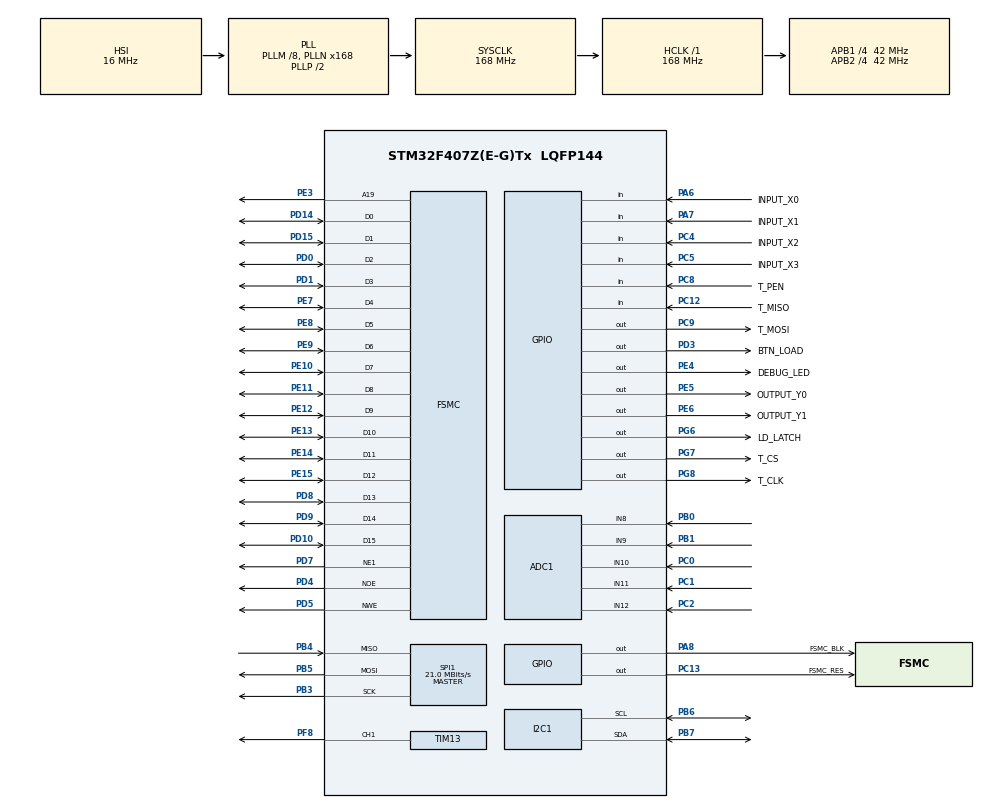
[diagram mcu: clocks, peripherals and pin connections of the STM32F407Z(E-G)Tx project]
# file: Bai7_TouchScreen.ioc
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ADC1.Channel-0\#ChannelRegularConversion=ADC_CHANNEL_8
ADC1.Channel-1\#ChannelRegularConversion=ADC_CHANNEL_9
ADC1.Channel-2\#ChannelRegularConversion=ADC_CHANNEL_10
ADC1.Channel-3\#ChannelRegularConversion=ADC_CHANNEL_11
ADC1.Channel-4\#ChannelRegularConversion=ADC_CHANNEL_12
ADC1.NbrOfConversion=5
ADC1.NbrOfConversionFlag=1
ADC1.Rank-0\#ChannelRegularConversion=1
ADC1.Rank-1\#ChannelRegularConversion=2
ADC1.Rank-2\#ChannelRegularConversion=3
ADC1.Rank-3\#ChannelRegularConversion=4
ADC1.Rank-4\#ChannelRegularConversion=5
ADC1.SamplingTime-0\#ChannelRegularConversion=ADC_SAMPLETIME_3CYCLES
ADC1.SamplingTime-1\#ChannelRegularConversion=ADC_SAMPLETIME_3CYCLES
ADC1.SamplingTime-2\#ChannelRegularConversion=ADC_SAMPLETIME_3CYCLES
ADC1.SamplingTime-3\#ChannelRegularConversion=ADC_SAMPLETIME_3CYCLES
ADC1.SamplingTime-4\#ChannelRegularConversion=ADC_SAMPLETIME_3CYCLES
ADC1.ScanConvMode=ENABLE
ADC1.master=1
Dma.ADC1.0.Direction=DMA_PERIPH_TO_MEMORY
Dma.ADC1.0.FIFOMode=DMA_FIFOMODE_DISABLE
Dma.ADC1.0.Instance=DMA2_Stream0
Dma.ADC1.0.MemDataAlignment=DMA_MDATAALIGN_HALFWORD
Dma.ADC1.0.MemInc=DMA_MINC_ENABLE
Dma.ADC1.0.Mode=DMA_CIRCULAR
Dma.ADC1.0.PeriphDataAlignment=DMA_PDATAALIGN_HALFWORD
Dma.ADC1.0.PeriphInc=DMA_PINC_DISABLE
Dma.ADC1.0.Priority=DMA_PRIORITY_LOW
Dma.Request0=ADC1
FSMC.AddressSetupTime1=0xf
FSMC.BusTurnAroundDuration1=0
FSMC.DataSetupTime1=60
FSMC.ExtendedAddressSetupTime1=8
FSMC.ExtendedBusTurnAroundDuration1=0
FSMC.ExtendedDataSetupTime1=9
FSMC.ExtendedMode1=FSMC_EXTENDED_MODE_ENABLE
I2C1.I2C_Mode=I2C_Standard
Mcu.Family=STM32F4
Mcu.Name=STM32F407Z(E-G)Tx
Mcu.Package=LQFP144
NVIC.DMA2_Stream0_IRQn=true\:0\:0\:false\:false\:true\:false\:true\:true
NVIC.PriorityGroup=NVIC_PRIORITYGROUP_4
NVIC.TIM2_IRQn=true\:0\:0\:false\:false\:true\:true\:true\:true
PA13.Mode=Serial_Wire
PA13.Signal=SYS_JTMS-SWDIO
PA14.Mode=Serial_Wire
PA14.Signal=SYS_JTCK-SWCLK
PA6.GPIO_Label=INPUT_X0
PA6.Signal=GPIO_Input
PA7.GPIO_Label=INPUT_X1
PA7.Signal=GPIO_Input
PA8.GPIO_Label=FSMC_BLK
PA8.Signal=GPIO_Output
PB0.Signal=ADCx_IN8
PB1.Signal=ADCx_IN9
PB3.Mode=Full_Duplex_Master
PB3.Signal=SPI1_SCK
PB4.Mode=Full_Duplex_Master
PB4.Signal=SPI1_MISO
PB5.Mode=Full_Duplex_Master
PB5.Signal=SPI1_MOSI
PB6.Mode=I2C
PB6.Signal=I2C1_SCL
PB7.Mode=I2C
PB7.Signal=I2C1_SDA
PC0.Signal=ADCx_IN10
PC1.Signal=ADCx_IN11
PC12.GPIO_Label=T_MISO
PC12.GPIO_PuPd=GPIO_PULLUP
PC12.Signal=GPIO_Input
PC13-ANTI_TAMP.GPIO_Label=FSMC_RES
PC13-ANTI_TAMP.Signal=GPIO_Output
PC2.Signal=ADCx_IN12
PC4.GPIO_Label=INPUT_X2
PC4.Signal=GPIO_Input
PC5.GPIO_Label=INPUT_X3
PC5.Signal=GPIO_Input
PC8.GPIO_Label=T_PEN
PC8.GPIO_PuPd=GPIO_PULLUP
PC8.Signal=GPIO_Input
PC9.GPIO_Label=T_MOSI
PC9.Signal=GPIO_Output
PD0.Signal=FSMC_D2_DA2
PD1.Signal=FSMC_D3_DA3
PD10.Signal=FSMC_D15_DA15
PD14.Signal=FSMC_D0_DA0
PD15.Signal=FSMC_D1_DA1
PD3.GPIO_Label=BTN_LOAD
PD3.Signal=GPIO_Output
PD4.Signal=FSMC_NOE
PD5.Signal=FSMC_NWE
PD7.Mode=NorPsramChipSelect1_1
PD7.Signal=FSMC_NE1
PD8.Signal=FSMC_D13_DA13
PD9.Signal=FSMC_D14_DA14
PE10.Signal=FSMC_D7_DA7
PE11.Signal=FSMC_D8_DA8
PE12.Signal=FSMC_D9_DA9
PE13.Signal=FSMC_D10_DA10
PE14.Signal=FSMC_D11_DA11
PE15.Signal=FSMC_D12_DA12
PE3.Signal=FSMC_A19
PE4.GPIO_Label=DEBUG_LED
PE4.Signal=GPIO_Output
PE5.GPIO_Label=OUTPUT_Y0
PE5.Signal=GPIO_Output
PE6.GPIO_Label=OUTPUT_Y1
PE6.Signal=GPIO_Output
PE7.Signal=FSMC_D4_DA4
PE8.Signal=FSMC_D5_DA5
PE9.Signal=FSMC_D6_DA6
PF8.Signal=S_TIM13_CH1
PG6.GPIO_Label=LD_LATCH
PG6.Signal=GPIO_Output
PG7.GPIO_Label=T_CS
PG7.Signal=GPIO_Output
PG8.GPIO_Label=T_CLK
PG8.Signal=GPIO_Output
PH0-OSC_IN.Mode=HSE-External-Oscillator
PH0-OSC_IN.Signal=RCC_OSC_IN
PH1-OSC_OUT.Mode=HSE-External-Oscillator
PH1-OSC_OUT.Signal=RCC_OSC_OUT
ProjectManager.HeapSize=0x200
ProjectManager.StackSize=0x400
ProjectManager.TargetToolchain=STM32CubeIDE
RCC.48MHZClocksFreq_Value=84000000
RCC.AHBFreq_Value=168000000
RCC.APB1CLKDivider=RCC_HCLK_DIV4
RCC.APB1Freq_Value=42000000
RCC.APB1TimFreq_Value=84000000
RCC.APB2CLKDivider=RCC_HCLK_DIV4
RCC.APB2Freq_Value=42000000
RCC.APB2TimFreq_Value=84000000
RCC.CortexFreq_Value=168000000
RCC.HCLKFreq_Value=168000000
RCC.HSE_VALUE=8000000
RCC.HSI_VALUE=16000000
RCC.LSE_VALUE=32768
RCC.PLLM=8
RCC.PLLN=168
RCC.SYSCLKFreq_VALUE=168000000
RCC.SYSCLKSource=RCC_SYSCLKSOURCE_PLLCLK
RCC.VCOOutputFreq_Value=336000000
SH.ADCx_IN10.0=ADC1_IN10,IN10
SH.ADCx_IN11.0=ADC1_IN11,IN11
SH.ADCx_IN12.0=ADC1_IN12,IN12
SH.ADCx_IN8.0=ADC1_IN8,IN8
SH.ADCx_IN9.0=ADC1_IN9,IN9
SH.FSMC_A19.0=FSMC_A19,A19_1
SH.FSMC_D0_DA0.0=FSMC_D0,16b-d1
SH.FSMC_D10_DA10.0=FSMC_D10,16b-d1
SH.FSMC_D11_DA11.0=FSMC_D11,16b-d1
SH.FSMC_D12_DA12.0=FSMC_D12,16b-d1
SH.FSMC_D13_DA13.0=FSMC_D13,16b-d1
SH.FSMC_D14_DA14.0=FSMC_D14,16b-d1
SH.FSMC_D15_DA15.0=FSMC_D15,16b-d1
SH.FSMC_D1_DA1.0=FSMC_D1,16b-d1
SH.FSMC_D2_DA2.0=FSMC_D2,16b-d1
SH.FSMC_D3_DA3.0=FSMC_D3,16b-d1
SH.FSMC_D4_DA4.0=FSMC_D4,16b-d1
SH.FSMC_D5_DA5.0=FSMC_D5,16b-d1
SH.FSMC_D6_DA6.0=FSMC_D6,16b-d1
SH.FSMC_D7_DA7.0=FSMC_D7,16b-d1
SH.FSMC_D8_DA8.0=FSMC_D8,16b-d1
SH.FSMC_D9_DA9.0=FSMC_D9,16b-d1
SH.FSMC_NOE.0=FSMC_NOE,Lcd1
SH.FSMC_NWE.0=FSMC_NWE,Lcd1
SH.S_TIM13_CH1.0=TIM13_CH1,PWM Generation1 CH1
SPI1.BaudRatePrescaler=SPI_BAUDRATEPRESCALER_2
SPI1.CalculateBaudRate=21.0 MBits/s
SPI1.Direction=SPI_DIRECTION_2LINES
SPI1.Mode=SPI_MODE_MASTER
SPI1.VirtualType=VM_MASTER
TIM1.Prescaler=84-1
TIM13.Channel=TIM_CHANNEL_1
TIM13.Period=100-1
TIM13.Prescaler=840-1
TIM2.Period=100-1
TIM2.Prescaler=840-1
VP_TIM13_VS_ClockSourceINT.Mode=Enable_Timer
VP_TIM1_VS_ClockSourceINT.Mode=Internal
VP_TIM2_VS_ClockSourceINT.Mode=Internal
board=custom

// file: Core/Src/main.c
/* USER CODE BEGIN Header */
/**
  ******************************************************************************
  * @file           : main.c
  * @brief          : Main program body
  ******************************************************************************
  * @attention
  *
  * <h2><center>&copy; Copyright (c) 2023 STMicroelectronics.
  * All rights reserved.</center></h2>
  *
  * This software component is licensed by ST under BSD 3-Clause license,
  * the "License"; You may not use this file except in compliance with the
  * License. You may obtain a copy of the License at:
  *                        opensource.org/licenses/BSD-3-Clause
  *
  ******************************************************************************
  */
/* USER CODE END Header */
#include "main.h"
#include "adc.h"
#include "dma.h"
#include "i2c.h"
#include "spi.h"
#include "tim.h"
#include "gpio.h"
#include "fsmc.h"

/* USER CODE BEGIN Includes */
#include "software_timer.h"
#include "led_7seg.h"
#include "button.h"
#include "lcd.h"
#include "picture.h"
#include "ds3231.h"
#include "sensor.h"
#include "buzzer.h"
#include "touch.h"
/* USER CODE END Includes */

/* USER CODE BEGIN PV */
#define INIT 0
#define DRAW 1
#define CLEAR 2
#define LCD_WIDTH 240
#define LCD_HEIGHT 320
#define MAX_FOOD 2
#define SNAKE_SIZE 100
#define CELL_SIZE 10

int draw_Status = INIT;
/* USER CODE END PV */

void SystemClock_Config(void);
/* USER CODE BEGIN PFP */
void system_init();
void test_LedDebug();
void touchProcess();
uint8_t isButtonClear();
/* USER CODE END PFP */

extern int x  = 20 ;
extern int y = 200 ;
extern int snake_direction = 0  ;
int food_count = 0 ;

typedef struct {
	int xf ;
	int yf ;
} Point ;

typedef struct {
    Point position;
    Point velocity;
    Point snake[SNAKE_SIZE];
    int length;
} Snake;

typedef struct {
    Point position;
    int active;
} Food;

Snake snake;
Food food[MAX_FOOD];

int main(void)
{

  /* MCU Configuration--------------------------------------------------------*/

  /* Reset of all peripherals, Initializes the Flash interface and the Systick. */
  HAL_Init();

  /* Configure the system clock */
  SystemClock_Config();

  /* Initialize all configured peripherals */
  MX_GPIO_Init();
  MX_DMA_Init();
  MX_SPI1_Init();
  MX_FSMC_Init();
  MX_I2C1_Init();
  MX_TIM13_Init();
  MX_TIM2_Init();
  MX_ADC1_Init();
  MX_TIM1_Init();
  /* USER CODE BEGIN 2 */
  system_init();
  /* USER CODE END 2 */

  /* Infinite loop */
  /* USER CODE BEGIN WHILE */
 touch_Adjust();
 lcd_Clear(BLACK);
 while (1)
  {
	 if((x == 0)||(y == 0)||(x == 240)||(y == 320)){

			lcd_Fill(60, 10, 180, 60, GBLUE);
			lcd_ShowStr(60, 20, "GAME OVER", RED, BLACK, 24, 1);
	 }

	 if((x ==  food[0].position.xf)&&(y ==  food[0].position.yf)){
		 lcd_ShowStr( food[0].position.xf,  food[0].position.yf, "+", BLACK, BLACK, 24, 1);
     	 food[0].position.xf = rand() % (LCD_WIDTH / CELL_SIZE) * CELL_SIZE;
		 food[0].position.yf = rand() % (LCD_HEIGHT / CELL_SIZE) * CELL_SIZE;
		 lcd_ShowStr( food[0].position.xf,  food[0].position.yf, "+", YELLOW, BLACK, 24, 1);
	 }

	 if((x ==  food[1].position.xf)&&(y ==  food[1].position.yf)){

	 		 lcd_ShowStr( food[1].position.xf,  food[1].position.yf, "+", BLACK, BLACK, 24, 1);
	 		 food[1].position.xf = rand() % (LCD_WIDTH / CELL_SIZE) * CELL_SIZE;
	 		 food[1].position.yf = rand() % (LCD_HEIGHT / CELL_SIZE) * CELL_SIZE;
	 		 lcd_ShowStr( food[1].position.xf,  food[1].position.yf, "+", YELLOW, BLACK, 24, 1);
	 	 }

	 if(food_count == 0 ){

		 food_count++ ;
         for (int i = 0; i < MAX_FOOD; i++) {
	  			        food[i].position.xf = rand() % (LCD_WIDTH / CELL_SIZE) * CELL_SIZE;
	  			        food[i].position.yf = rand() % (LCD_HEIGHT / CELL_SIZE) * CELL_SIZE;
	  			        food[i].active = 1;
	  			      lcd_ShowStr(food[i].position.xf, food[i].position.yf, "+", YELLOW, BLACK, 24, 1);
	  		 }
	 }

	  //scan touch screen
	  touch_Scan();
	  updateSnake() ;
	  //check if touch screen is touched
	  if(touch_IsTouched() && draw_Status == DRAW){
            //draw a point at the touch position
		  lcd_DrawPoint(touch_GetX(), touch_GetY(), RED);
	  }
	  // 50ms task
	  if(flag_timer2 == 1){
		  flag_timer2 = 0;
		  touchProcess();
		  test_LedDebug();
	  }

    /* USER CODE END WHILE */

  }
}

void SystemClock_Config(void)
{
  RCC_OscInitTypeDef RCC_OscInitStruct = {0};
  RCC_ClkInitTypeDef RCC_ClkInitStruct = {0};

  /** Configure the main internal regulator output voltage
  */
  __HAL_RCC_PWR_CLK_ENABLE();
  __HAL_PWR_VOLTAGESCALING_CONFIG(PWR_REGULATOR_VOLTAGE_SCALE1);
  /** Initializes the RCC Oscillators according to the specified parameters
  * in the RCC_OscInitTypeDef structure.
  */
  RCC_OscInitStruct.OscillatorType = RCC_OSCILLATORTYPE_HSI;
  RCC_OscInitStruct.HSIState = RCC_HSI_ON;
  RCC_OscInitStruct.HSICalibrationValue = RCC_HSICALIBRATION_DEFAULT;
  RCC_OscInitStruct.PLL.PLLState = RCC_PLL_ON;
  RCC_OscInitStruct.PLL.PLLSource = RCC_PLLSOURCE_HSI;
  RCC_OscInitStruct.PLL.PLLM = 8;
  RCC_OscInitStruct.PLL.PLLN = 168;
  RCC_OscInitStruct.PLL.PLLP = RCC_PLLP_DIV2;
  RCC_OscInitStruct.PLL.PLLQ = 4;
  if (HAL_RCC_OscConfig(&RCC_OscInitStruct) != HAL_OK)
  {
    Error_Handler();
  }
  /** Initializes the CPU, AHB and APB buses clocks
  */
  RCC_ClkInitStruct.ClockType = RCC_CLOCKTYPE_HCLK|RCC_CLOCKTYPE_SYSCLK
                              |RCC_CLOCKTYPE_PCLK1|RCC_CLOCKTYPE_PCLK2;
  RCC_ClkInitStruct.SYSCLKSource = RCC_SYSCLKSOURCE_PLLCLK;
  RCC_ClkInitStruct.AHBCLKDivider = RCC_SYSCLK_DIV1;
  RCC_ClkInitStruct.APB1CLKDivider = RCC_HCLK_DIV4;
  RCC_ClkInitStruct.APB2CLKDivider = RCC_HCLK_DIV4;

  if (HAL_RCC_ClockConfig(&RCC_ClkInitStruct, FLASH_LATENCY_5) != HAL_OK)
  {
    Error_Handler();
  }
}

/* USER CODE BEGIN 4 */
void system_init(){
	  timer_init();
	  button_init();
	  lcd_init();
	  touch_init();
	  setTimer2(50);

}

void displayVerticalText(uint16_t x, uint16_t y, char *text, uint16_t fc, uint16_t bc, uint8_t sizey) {
    int charHeight = 24 * sizey; // Assuming character height

    // Display each character vertically, line by line
    for (int i = 0; i < strlen(text); i++) {
        lcd_ShowStr(x, y + i * charHeight, text[i], fc, bc, 24, 1);
    }
}

uint8_t count_led_debug = 0;

void test_LedDebug(){
	count_led_debug = (count_led_debug + 1)%20;
	if(count_led_debug == 0){
		HAL_GPIO_TogglePin(DEBUG_LED_GPIO_Port, DEBUG_LED_Pin);
	}
}

uint8_t isButtonClear(){
	if(!touch_IsTouched()) return 0;
	return touch_GetX() > 60 && touch_GetX() < 180 && touch_GetY() > 10 && touch_GetY() < 60;
}

uint8_t isButtonUp(){
	if(!touch_IsTouched()) return 0;
	return touch_GetX() > 90 && touch_GetX() < 120 && touch_GetY() > 90 && touch_GetY() < 120;
}

uint8_t isButtonDown(){
	if(!touch_IsTouched()) return 0;
	return touch_GetX() > 90 && touch_GetX() < 120 && touch_GetY() > 150 && touch_GetY() < 180;
}

uint8_t isButtonLeft(){
	if(!touch_IsTouched()) return 0;
	return touch_GetX() > 40 && touch_GetX() < 70 && touch_GetY() > 120 && touch_GetY() < 150;
}

uint8_t isButtonRight(){
	if(!touch_IsTouched()) return 0;
	return touch_GetX() > 140 && touch_GetX() < 170 && touch_GetY() > 120 && touch_GetY() < 150;
}

//void lcd_Fill(uint16_t xsta,uint16_t ysta,uint16_t xend,uint16_t yend,uint16_t color) //add a hcn = 1 mau car been trogn
//void lcd_ShowStr(uint16_t x, uint16_t y,char *str,uint16_t fc, uint16_t bc,uint8_t sizey,uint8_t mode)
void touchProcess(){
	switch (draw_Status) {
		case INIT:
                // display blue button
			lcd_Fill(90, 90, 120, 120, GBLUE); //up
			lcd_Fill(40, 120, 70, 150, GBLUE); //left
			lcd_Fill(140, 120, 170, 150, GBLUE); //right
			lcd_Fill(90, 150, 120, 180, GBLUE); //down

			lcd_Fill(60, 10, 180, 60, GBLUE);
			lcd_ShowStr(90, 20, "START", RED, BLACK, 24, 1);
			lcd_ShowStr(x, y, "000", RED, GREEN, 24, 1);

			draw_Status = DRAW;

			break;
		case DRAW:
			if(isButtonClear()){
				draw_Status = CLEAR;
				 setTimersnake(500);
                    // clear board
			//	lcd_Fill(0, 60, 240, 320, BLACK);
                    // display green button
				lcd_Fill(60, 10, 180, 60, GREEN);
				lcd_ShowStr(90, 20, "CLEAR", RED, BLACK, 24, 1);
			}

			if(isButtonUp()){

			                    // display green button
				draw_Status = CLEAR;
				snake_direction = 3 ;
				lcd_Fill(90, 90, 120, 120, GREEN);

						}

			if(isButtonDown()){
						draw_Status = CLEAR;
			            // clear board
                        snake_direction = 4 ;
					    lcd_Fill(90, 150, 120, 180, GREEN);}

			if(isButtonLeft()){
		    			draw_Status = CLEAR;
						snake_direction = 1  ;
						 // clear
					    lcd_Fill(40, 120, 70, 150, GREEN);}

			if(isButtonRight()){
						draw_Status = CLEAR;
						snake_direction = 2 ;
						// clear board
                        lcd_Fill(140, 120, 170, 150, GREEN);}
          	break;

		case CLEAR:

			if(!touch_IsTouched()) draw_Status = INIT;
			break;

		default:
			break;
	}
}
/* USER CODE END 4 */
void renderSnake(){;}
void updateSnake(){
	if((flag_timersnake == 1)&&(snake_direction == 0 )){
		    lcd_ShowStr(x, y, "000", BLACK, GREEN, 24, 1);
		    x = x + 5 ;
		    flag_timersnake = 0 ;
		    lcd_ShowStr(x, y, "000", RED, GREEN, 24, 1);
	}

	if((flag_timersnake == 1)&&(snake_direction == 1 )){
		    lcd_ShowStr(x, y+5, "0", BLACK, GREEN, 24, 1);
		    lcd_ShowStr(x, y+10, "0", BLACK, GREEN, 24, 1);
	        lcd_ShowStr(x, y-5, "0", BLACK, GREEN, 24, 1);
		    lcd_ShowStr(x, y-10, "0", BLACK, GREEN, 24, 1);
		    lcd_ShowStr(x, y, "000", BLACK, GREEN, 24, 1);
			x = x - 5 ;
			flag_timersnake = 0 ;
			lcd_ShowStr(x, y, "000", RED, GREEN, 24, 1);
		}

	if((flag_timersnake == 1)&&(snake_direction == 2 )){
	   	    lcd_ShowStr(x, y-5, "0", BLACK, GREEN, 24, 1);
	     	lcd_ShowStr(x, y-10, "0", BLACK, GREEN, 24, 1);
	    	lcd_ShowStr(x, y+5, "0", BLACK, GREEN, 24, 1);
		    lcd_ShowStr(x, y+10, "0", BLACK, GREEN, 24, 1);
			lcd_ShowStr(x, y, "000", BLACK, GREEN, 24, 1);
			x = x + 5 ;
			flag_timersnake = 0 ;
			lcd_ShowStr(x, y, "000", RED, GREEN, 24, 1);
			}

	if((flag_timersnake == 1)&&(snake_direction == 3 )){
				lcd_ShowStr(x, y, "000", BLACK, GREEN, 24, 1);
				lcd_ShowStr(x, y+5, "0", BLACK, GREEN, 24, 1);
				lcd_ShowStr(x, y+10, "0", BLACK, GREEN, 24, 1);

			    lcd_ShowStr(x, y, "0", RED, GREEN, 24, 1);
				y = y - 5 ;
				lcd_ShowStr(x, y, "0", RED, GREEN, 24, 1);
				y = y - 5 ;
				lcd_ShowStr(x, y, "0", RED, GREEN, 24, 1);
			//	displayVerticalText(x, y, "000", RED, GREEN, 1);
				flag_timersnake = 0 ;

			}

	if((flag_timersnake == 1)&&(snake_direction == 4 )){
					lcd_ShowStr(x, y, "000", BLACK, GREEN, 24, 1);
					lcd_ShowStr(x, y-5, "0", BLACK, GREEN, 24, 1);
					lcd_ShowStr(x, y-10, "0", BLACK, GREEN, 24, 1);

				    lcd_ShowStr(x, y, "0", RED, GREEN, 24, 1);
					y = y + 5 ;
					lcd_ShowStr(x, y, "0", RED, GREEN, 24, 1);
					y = y + 5 ;
					lcd_ShowStr(x, y, "0", RED, GREEN, 24, 1);
				//	displayVerticalText(x, y, "000", RED, GREEN, 1);
					flag_timersnake = 0 ;

				}
}
void Error_Handler(void)
{
  __disable_irq();
  while (1)
  {
  }
}

/************************ (C) COPYRIGHT STMicroelectronics *****END OF FILE****/
